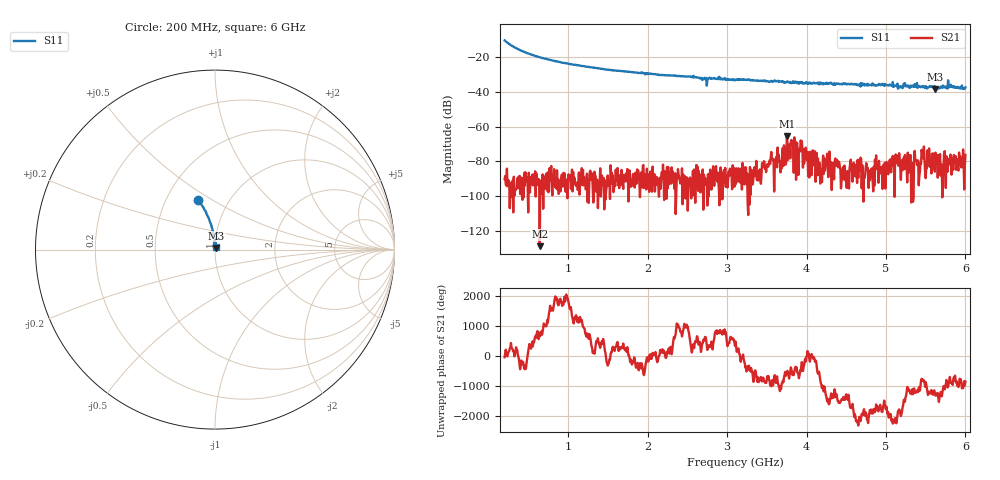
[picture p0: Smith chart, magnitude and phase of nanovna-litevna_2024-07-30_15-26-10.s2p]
! NanoVNA-App by OneOfEleven et al v1.1.209 (+OD15)
! Date: 2024-07-30 15:26:13
! Start: 200MHz Stop: 6GHz Points: 801
! S-Parameter data: F S11 S21 S12 S22
# Hz S RI R 50
!  Frequency  S11_Real  S11_Imag  S21_Real  S21_Imag  S12_Real  S12_Imag  S22_Real  S22_Imag
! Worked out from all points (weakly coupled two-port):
!   801 points, 200 MHz to 6 GHz, reference 50 ohm
!   highest |S21| = -65.35 dB at 3.752 GHz (marker M1); lowest = -128.4 dB at 642.2 MHz (marker M2)
!   lowest |S11| = -38.6 dB at 5.616 GHz (marker M3), VSWR 1.02, Z = 50.7 + j0.969 ohm
!   |S11| at or under -10 dB: start of sweep to end of sweep
!   S12 and S22 are empty: the file has one direction only
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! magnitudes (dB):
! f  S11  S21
! 200 MHz  -10.8  -90.1
! 642.2 MHz  -20.4  -128.4
! 1.171 GHz  -25.4  -83.8
! 2.136 GHz  -30.2  -94.1
! 3.1 GHz  -33.3  -89.9
! 3.6 GHz  -34.0  -84.1
! 3.68 GHz  -34.2  -80.7
! 3.752 GHz  -34.4  -65.4
! 3.832 GHz  -34.9  -71.3
! 3.869 GHz  -34.5  -90.4
! 3.934 GHz  -34.7  -69.1
! 4.035 GHz  -34.7  -89.1
! 4.072 GHz  -35.3  -74.5
! 4.101 GHz  -35.3  -74.2
! 4.166 GHz  -35.6  -80.8
! 5.036 GHz  -36.5  -84.4
! 5.144 GHz  -35.5  -81.2
! 5.413 GHz  -37.1  -93.6
! 5.456 GHz  -37.4  -75.4
! 5.616 GHz  -38.6  -85.8
! 5.775 GHz  -38.3  -85.8
! 6 GHz  -37.6  -76.3
